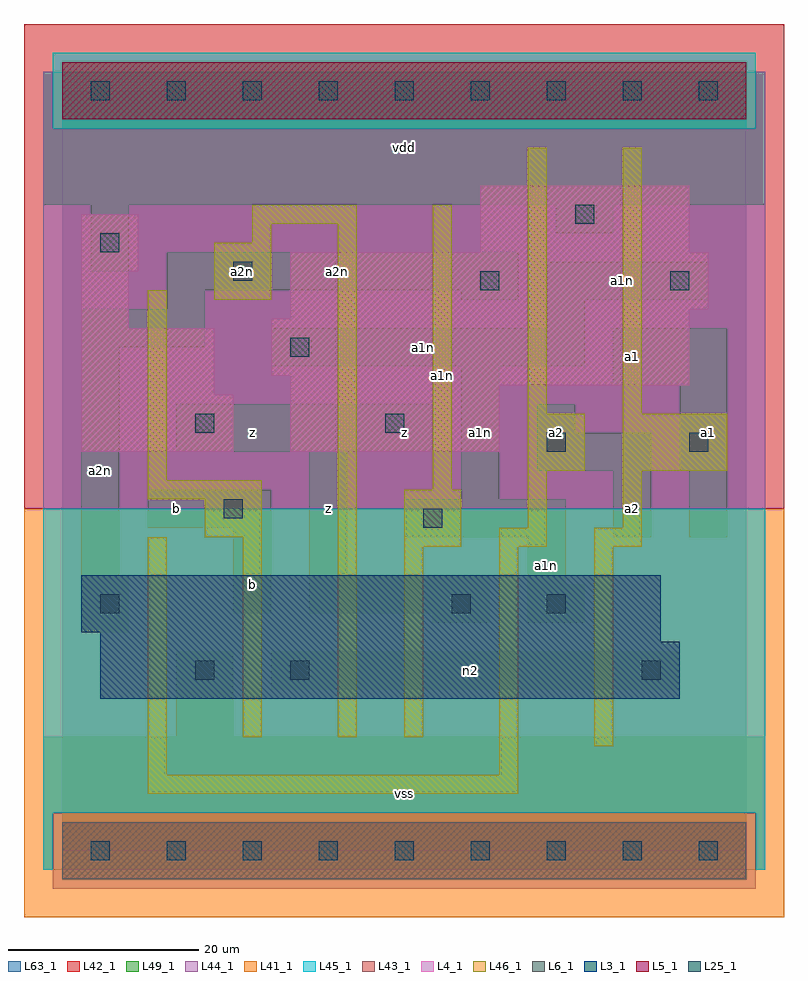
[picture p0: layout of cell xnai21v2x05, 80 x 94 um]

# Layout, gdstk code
import gdstk
lib = gdstk.Library(unit=1e-6, precision=1e-09)
def R(c, l, rs):  # rectangles x0, y0, x1, y1
    for r in rs: c.add(gdstk.rectangle(r[:2], r[2:], *l))
def A(c, l, x, y, w, h, nx, ny, dx, dy):  # array of equal rectangles
    R(c, l, [(x+i*dx, y+j*dy, x+i*dx+w, y+j*dy+h) for i in range(nx) for j in range(ny)])
L3_1 = (3, 1)
L4_1 = (4, 1)
L5_1 = (5, 1)
L6_1 = (6, 1)
L25_1 = (25, 1)
L41_1 = (41, 1)
L42_1 = (42, 1)
L43_1 = (43, 1)
L44_1 = (44, 1)
L45_1 = (45, 1)
L46_1 = (46, 1)
L49_1 = (49, 1)
L63_1 = (63, 1)

xnai21v2x05 = lib.new_cell('xnai21v2x05')
R(xnai21v2x05, L3_1, [(4,16,65,22), (4,22,63,23), (2,23,63,29)])
R(xnai21v2x05, L4_1, [(2,42,18,48), (24,42,46,49), (2,48,16,55), (24,49,66,50), (22,50,66,56), (2,55,7,61), (24,56,66,57), (24,57,68,63), (2,61,8,67), (44,63,66,70)])
R(xnai21v2x05, L5_1, [(0,77,72,83)])
R(xnai21v2x05, L6_1, [(0,-3,72,3), (0,-3,72,3)])
A(xnai21v2x05, L25_1, 3, -1, 2, 2, 9, 2, 8, 80)
R(xnai21v2x05, L25_1, [(14,18,16,20), (24,18,26,20), (61,18,63,20), (4,25,6,27), (41,25,43,27), (51,25,53,27), (38,34,40,36), (17,35,19,37), (51,42,53,44), (66,42,68,44), (14,44,16,46), (34,44,36,46), (24,52,26,54), (44,59,46,61), (64,59,66,61), (18,60,20,62), (4,63,6,65), (54,66,56,68)])
R(xnai21v2x05, L41_1, [(-4,-7,76,36)])
R(xnai21v2x05, L42_1, [(-4,36,76,87)])
R(xnai21v2x05, L43_1, [(0,-3,72,3), (4,16,65,22), (4,22,63,23), (2,23,63,29), (2,42,18,48), (24,42,46,49), (2,48,16,55), (24,49,66,50), (22,50,66,56), (2,55,7,61), (24,56,66,57), (24,57,68,63), (2,61,8,67), (44,63,66,70), (0,77,72,83)])
R(xnai21v2x05, L44_1, [(-1,-4,73,4), (-2,36,74,76), (-2,76,-1,82), (73,76,74,82)])
R(xnai21v2x05, L45_1, [(-2,-2,-1,4), (73,-2,74,4), (-2,4,74,36), (-1,76,73,84)])
R(xnai21v2x05, L46_1, [(9,6,48,8), (9,8,11,33), (46,8,48,32), (56,11,58,32), (19,12,21,33), (29,12,31,66), (36,12,38,32), (36,32,42,38), (46,32,51,34), (56,32,61,34), (15,33,21,37), (49,34,51,40), (59,34,61,40), (9,37,21,39), (39,38,41,68), (9,39,11,59), (49,40,55,46), (59,40,70,46), (49,46,51,74), (59,46,61,74), (16,58,22,64), (20,64,22,66), (20,66,31,68)])
R(xnai21v2x05, L49_1, [(-2,-2,74,12), (12,12,18,21), (22,17,65,21), (2,23,7,29), (39,24,45,25), (49,24,55,28), (18,25,22,34), (26,25,45,29), (49,28,53,33), (2,29,6,53), (26,29,30,42), (36,33,53,37), (58,33,62,40), (66,33,70,40), (9,34,22,38), (42,37,46,51), (50,40,62,44), (65,40,70,49), (12,42,39,47), (50,44,54,47), (58,49,70,55), (22,51,55,55), (2,53,15,57), (51,55,55,58), (11,57,15,59), (42,58,48,59), (51,58,68,62), (11,59,48,63), (3,61,7,68), (52,65,58,68), (-2,68,74,82)])
R(xnai21v2x05, L63_1, [(0,0,72,80)])
xnai21v2x05.add(gdstk.Label('a2n', (19,61), layer=49, texttype=1))
xnai21v2x05.add(gdstk.Label('a1n', (40,50), layer=46, texttype=1))
xnai21v2x05.add(gdstk.Label('a2n', (4,40), layer=49, texttype=1))
xnai21v2x05.add(gdstk.Label('b', (20,28), layer=49, texttype=1))
xnai21v2x05.add(gdstk.Label('b', (12,36), layer=49, texttype=1))
xnai21v2x05.add(gdstk.Label('z', (20,44), layer=49, texttype=1))
xnai21v2x05.add(gdstk.Label('vss', (36,6), layer=49, texttype=1))
xnai21v2x05.add(gdstk.Label('z', (28,36), layer=49, texttype=1))
xnai21v2x05.add(gdstk.Label('z', (36,44), layer=49, texttype=1))
xnai21v2x05.add(gdstk.Label('vdd', (36,74), layer=49, texttype=1))
xnai21v2x05.add(gdstk.Label('a1n', (51,30), layer=49, texttype=1))
xnai21v2x05.add(gdstk.Label('a2', (52,44), layer=49, texttype=1))
xnai21v2x05.add(gdstk.Label('a1n', (44,44), layer=49, texttype=1))
xnai21v2x05.add(gdstk.Label('a2n', (29,61), layer=49, texttype=1))
xnai21v2x05.add(gdstk.Label('a1n', (38,53), layer=49, texttype=1))
xnai21v2x05.add(gdstk.Label('n2', (43,19), layer=49, texttype=1))
xnai21v2x05.add(gdstk.Label('a2', (60,36), layer=49, texttype=1))
xnai21v2x05.add(gdstk.Label('a1', (68,44), layer=49, texttype=1))
xnai21v2x05.add(gdstk.Label('a1', (60,52), layer=49, texttype=1))
xnai21v2x05.add(gdstk.Label('a1n', (59,60), layer=49, texttype=1))

lib.write_gds('xnai21v2x05.gds')
